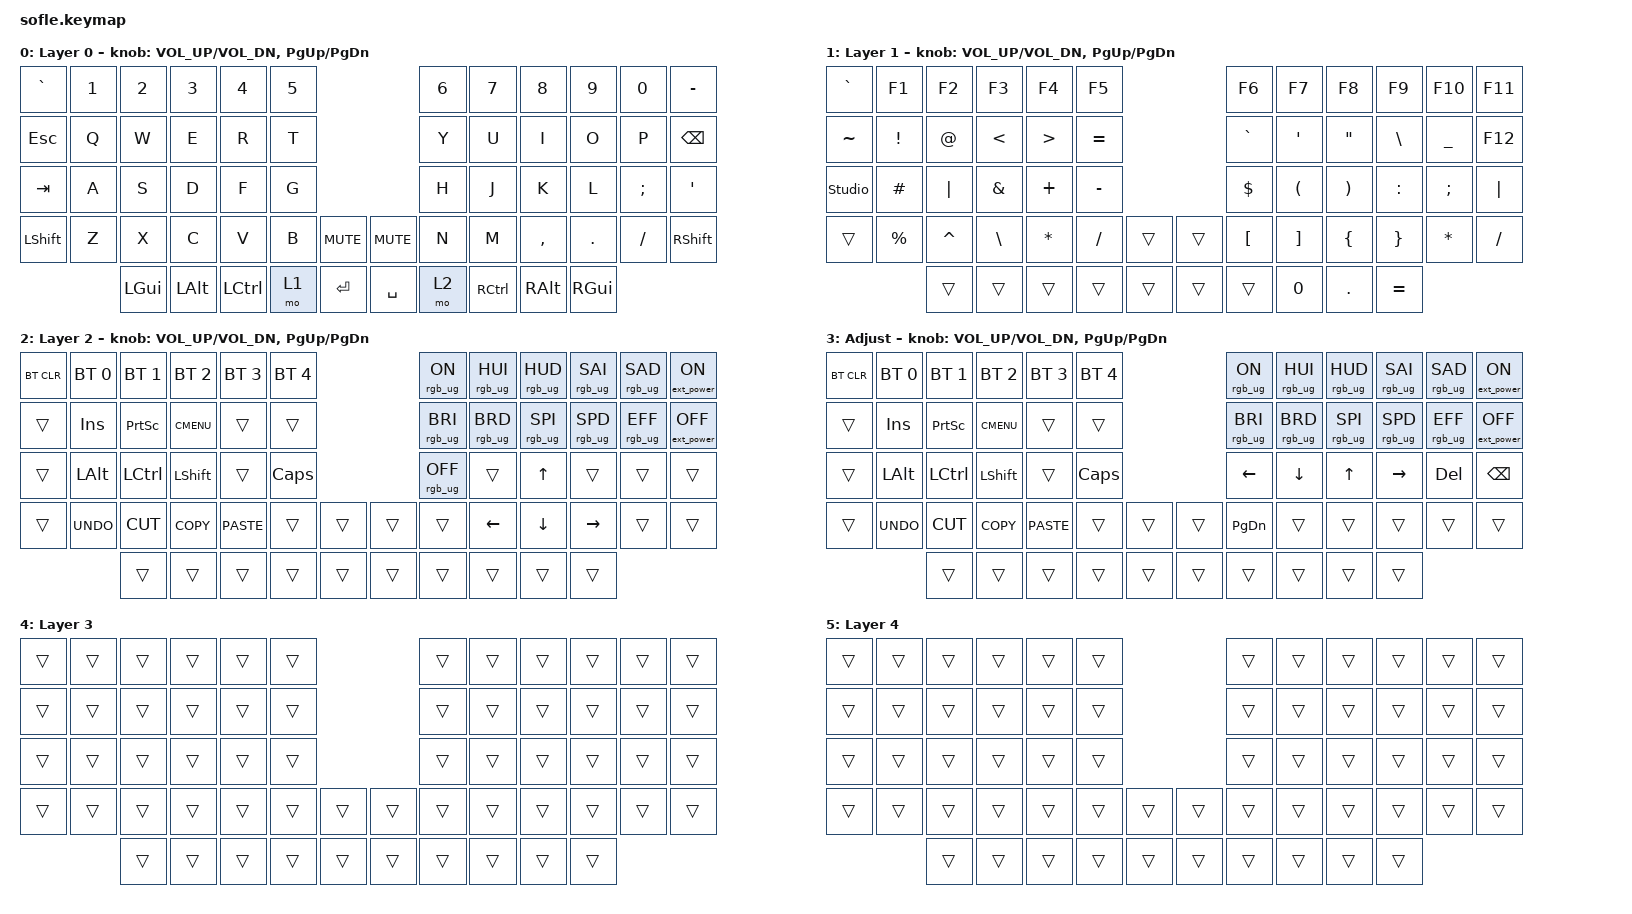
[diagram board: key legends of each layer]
/*
 * Copyright (c) 2020 The ZMK Contributors
 *
 * SPDX-License-Identifier: MIT
 */

#include <behaviors.dtsi>
#include <dt-bindings/zmk/bt.h>
#include <dt-bindings/zmk/ext_power.h>
#include <dt-bindings/zmk/keys.h>
#include <dt-bindings/zmk/rgb.h>

&nice_view_spi { cs-gpios = <&pro_micro 0 GPIO_ACTIVE_HIGH>; };

/ {
    keymap {
        compatible = "zmk,keymap";

        default_layer {
            display-name = "Layer 0";

            // ------------------------------------------------------------------------------------------------------------
            // |  `    |  1  |  2  |  3   |  4   |  5   |                   |  6   |  7    |  8    |  9   |   0   |       |
            // |  ESC  |  Q  |  W  |  E   |  R   |  T   |                   |  Y   |  U    |  I    |  O   |   P   | BKSPC |
            // |  TAB  |  A  |  S  |  D   |  F   |  G   |                   |  H   |  J    |  K    |  L   |   ;   |   '   |
            // | SHIFT |  Z  |  X  |  C   |  V   |  B   |  MUTE  |  |       |  N   |  M    |  ,    |  .   |   /   | SHIFT |
            //               | GUI | ALT  | CTRL | LOWER|  ENTER |  | SPACE | RAISE| CTRL  | ALT   | GUI  |

            bindings = <
&kp GRAVE  &kp N1  &kp N2    &kp N3    &kp N4     &kp N5                            &kp N6  &kp N7     &kp N8     &kp N9    &kp N0    &kp MINUS
&kp ESC    &kp Q   &kp W     &kp E     &kp R      &kp T                             &kp Y   &kp U      &kp I      &kp O     &kp P     &kp BSPC
&kp TAB    &kp A   &kp S     &kp D     &kp F      &kp G                             &kp H   &kp J      &kp K      &kp L     &kp SEMI  &kp SQT
&kp LSHFT  &kp Z   &kp X     &kp C     &kp V      &kp B   &kp C_MUTE    &kp C_MUTE  &kp N   &kp M      &kp COMMA  &kp DOT   &kp FSLH  &kp RSHFT
                   &kp LGUI  &kp LALT  &kp LCTRL  &mo 1   &kp RET       &kp SPACE   &mo 2   &kp RCTRL  &kp RALT   &kp RGUI
            >;

            sensor-bindings = <&inc_dec_kp C_VOL_UP C_VOL_DN &inc_dec_kp PG_UP PG_DN>;
        };

        lower_layer {
            display-name = "Layer 1";

            // TODO: Some binds are waiting for shifted keycode support.
            // ------------------------------------------------------------------------------------------------------------
            // | `     |  F1 |  F2 |  F3  |  F4  |  F5  |                   |  F6  |  F7   |  F8   |  F9  |  F10  |  F11  |
            // | RAISE |   1 |   2 |   3  |   4  |   5  |                   |   6  |   7   |   8   |   9  |    0  |  F12  |
            // | STULC |  !  |  @  |  #   |  $   |  %   |                   |  ^   |  &    |  *    |  (   |   )   |   |   |
            // |       |  =  |  -  |  +   |  {   |  }   |        |  |       |  [   |  ]    |  ;    |  :   |   \   |       |
            //               |     |      |      |      |        |  |       |      |       |       |      |

            bindings = <
&kp GRAVE       &kp F1           &kp F2       &kp F3         &kp F4            &kp F5                       &kp F6            &kp F7                &kp F8                 &kp F9           &kp F10         &kp F11
&kp TILDE       &kp EXCLAMATION  &kp AT_SIGN  &kp LESS_THAN  &kp GREATER_THAN  &kp EQUAL                    &kp GRAVE         &kp SQT               &kp DOUBLE_QUOTES      &kp BACKSLASH    &kp UNDERSCORE  &kp F12
&studio_unlock  &kp HASH         &kp PIPE     &kp AMPERSAND  &kp PLUS          &kp MINUS                    &kp DOLLAR        &kp LEFT_PARENTHESIS  &kp RIGHT_PARENTHESIS  &kp COLON        &kp SEMICOLON   &kp PIPE
&trans          &kp PERCENT      &kp CARET    &kp BACKSLASH  &kp ASTERISK      &kp SLASH  &trans    &trans  &kp LEFT_BRACKET  &kp RIGHT_BRACKET     &kp LEFT_BRACE         &kp RIGHT_BRACE  &kp ASTERISK    &kp SLASH
                                 &trans       &trans         &trans            &trans     &trans    &trans  &trans            &kp N0                &kp PERIOD             &kp EQUAL
            >;

            sensor-bindings = <&inc_dec_kp C_VOL_UP C_VOL_DN &inc_dec_kp PG_UP PG_DN>;
        };

        raise_layer {
            display-name = "Layer 2";

            // ------------------------------------------------------------------------------------------------------------
            // |BTCLR| BT1  | BT2  |  BT3  |  BT4  |  BT5 |                |      |      |       |      |       |       |
            // |     | INS  | PSCR | GUI   |       |      |                | PGUP |      |       |      |       |       |
            // |     | ALT  | CTRL | SHIFT |       | CAPS |                |  <-  |   v  |   ^   |  ->  |  DEL  | BKSPC |
            // |     | UNDO | CUT  | COPY  | PASTE |      |      |  |      |      |      |       |      |       |       |
            //              |      |       |       |      |      |  |      |      |      |       |      |

            bindings = <
&bt BT_CLR  &bt BT_SEL 0  &bt BT_SEL 1  &bt BT_SEL 2  &bt BT_SEL 3  &bt BT_SEL 4                    &rgb_ug RGB_ON   &rgb_ug RGB_HUI  &rgb_ug RGB_HUD  &rgb_ug RGB_SAI  &rgb_ug RGB_SAD  &ext_power EP_ON
&trans      &kp INS       &kp PSCRN     &kp K_CMENU   &trans        &trans                          &rgb_ug RGB_BRI  &rgb_ug RGB_BRD  &rgb_ug RGB_SPI  &rgb_ug RGB_SPD  &rgb_ug RGB_EFF  &ext_power EP_OFF
&trans      &kp LALT      &kp LCTRL     &kp LSHFT     &trans        &kp CLCK                        &rgb_ug RGB_OFF  &trans           &kp UP_ARROW     &trans           &trans           &trans
&trans      &kp K_UNDO    &kp K_CUT     &kp K_COPY    &kp K_PASTE   &trans        &trans    &trans  &trans           &kp LEFT         &kp DOWN_ARROW   &kp RIGHT        &trans           &trans
                          &trans        &trans        &trans        &trans        &trans    &trans  &trans           &trans           &trans           &trans
            >;

            sensor-bindings = <&inc_dec_kp C_VOL_UP C_VOL_DN &inc_dec_kp PG_UP PG_DN>;
        };

        Adjust {
            display-name = "Adjust";
            bindings = <
&bt BT_CLR  &bt BT_SEL 0  &bt BT_SEL 1  &bt BT_SEL 2  &bt BT_SEL 3  &bt BT_SEL 4                    &rgb_ug RGB_ON   &rgb_ug RGB_HUI  &rgb_ug RGB_HUD  &rgb_ug RGB_SAI  &rgb_ug RGB_SAD  &ext_power EP_ON
&trans      &kp INS       &kp PSCRN     &kp K_CMENU   &trans        &trans                          &rgb_ug RGB_BRI  &rgb_ug RGB_BRD  &rgb_ug RGB_SPI  &rgb_ug RGB_SPD  &rgb_ug RGB_EFF  &ext_power EP_OFF
&trans      &kp LALT      &kp LCTRL     &kp LSHFT     &trans        &kp CLCK                        &kp LEFT         &kp DOWN         &kp UP           &kp RIGHT        &kp DEL          &kp BSPC
&trans      &kp K_UNDO    &kp K_CUT     &kp K_COPY    &kp K_PASTE   &trans        &trans    &trans  &kp PAGE_DOWN    &trans           &trans           &trans           &trans           &trans
                          &trans        &trans        &trans        &trans        &trans    &trans  &trans           &trans           &trans           &trans
            >;

            sensor-bindings =
                <&inc_dec_kp C_VOL_UP C_VOL_DN>,
                <&inc_dec_kp PG_UP PG_DN>;
        };

        layer_3 {
            display-name = "Layer 3";
            bindings = <
&trans  &trans  &trans  &trans  &trans  &trans                    &trans  &trans  &trans  &trans  &trans  &trans
&trans  &trans  &trans  &trans  &trans  &trans                    &trans  &trans  &trans  &trans  &trans  &trans
&trans  &trans  &trans  &trans  &trans  &trans                    &trans  &trans  &trans  &trans  &trans  &trans
&trans  &trans  &trans  &trans  &trans  &trans  &trans    &trans  &trans  &trans  &trans  &trans  &trans  &trans
                &trans  &trans  &trans  &trans  &trans    &trans  &trans  &trans  &trans  &trans
            >;
        };

        layer_4 {
            display-name = "Layer 4";
            bindings = <
&trans  &trans  &trans  &trans  &trans  &trans                    &trans  &trans  &trans  &trans  &trans  &trans
&trans  &trans  &trans  &trans  &trans  &trans                    &trans  &trans  &trans  &trans  &trans  &trans
&trans  &trans  &trans  &trans  &trans  &trans                    &trans  &trans  &trans  &trans  &trans  &trans
&trans  &trans  &trans  &trans  &trans  &trans  &trans    &trans  &trans  &trans  &trans  &trans  &trans  &trans
                &trans  &trans  &trans  &trans  &trans    &trans  &trans  &trans  &trans  &trans
            >;
        };
    };
};
